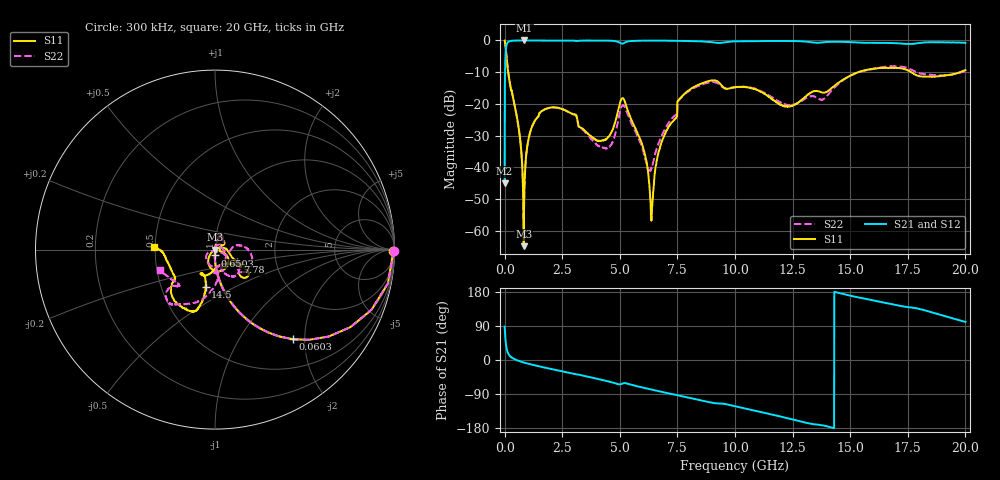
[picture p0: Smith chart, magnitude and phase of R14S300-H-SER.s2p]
!{R14S300}
!Johanson Technology Inc.
!www.johansontechnology.com
!Test Board Conditions:
!Substrate Type  RO4350B
!Substrate Thickness  20 mil
!Substrate Dk  3.66
!TL Type: GCPW
!TL Trace Width  36 mil
!TL Gap  12 mil
!Electrode orientation  Horizontal
!DUT TOPOLOGY	SERIES
!Mounting Pad LxW  26x36 mil
! Created Wed Nov 25 17:33:21 2020
! 2 Port Network Data from SP1.SP block
! freq  magS11  angS11  magS21  angS21  magS12  angS12  magS22  angS22
# khz S ma R 50
! decimated to every 10th point (10 MHz spacing) of the original 1 MHz Johanson file; values unchanged
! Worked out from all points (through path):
!   2001 points, 300 kHz to 20 GHz, reference 50 ohm
!   highest |S21| = 0.00 dB at 860.3 MHz (marker M1); lowest = -45.0 dB at 300 kHz (marker M2)
!   group delay of S21, straight-line fit = 36.1 ps
!   lowest |S11| = -64.8 dB at 830.3 MHz (marker M3), VSWR 1.00, Z = 49.9 + j0.0263 ohm
!   |S11| at or under -10 dB: 154.5 MHz to 15.35 GHz (15.19 GHz wide, 196 % of centre); 17.64 GHz to 19.77 GHz (2.133 GHz wide, 11.4 % of centre)
!   |S22| runs from -57.0 to 0.0 dB; largest |S21 - S12| = 0.02
!   S11 on the Smith chart (normalised r, x): 300 kHz: open; 60.3 MHz: 0.99, -1.75; 650.3 MHz: 0.99, -0.06; 7.78 GHz: 1.27, -0.18; 14.5 GHz: 0.83, -0.36; 20 GHz: 0.49, +0.02
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300  0.9933 -0.5  0.005616 88.4  0.005651 89.3  0.998 -0.5
60300  0.66 -49.1  0.749 40.8  0.7492 40.8  0.6617 -49.1
140300  0.3463 -70.6  0.9361 19.2  0.9362 19.2  0.3483 -70.6
650300  0.03267 -93.3  0.9979 -3.1  0.9992 -3.2  0.03298 -91.8
830300  0.0005724 152.6  0.9996 -6.6  0.9991 -6.5  0.001417 -5.1
860300  0.00518 90.9  0.9998 -7.1  0.9986 -7.1  0.004776 66.2
1090300  0.03372 80.7  0.998 -10.8  0.9982 -10.8  0.03367 76.8
1600300  0.07634 74.2  0.9958 -18.2  0.9963 -18.2  0.07616 68.8
2570300  0.08093 59.9  0.9945 -30.8  0.9948 -30.8  0.08088 56.4
3340300  0.0417 36.9  0.9948 -40.4  0.9945 -40.3  0.04045 52.4
4490300  0.03021 -18.9  0.9925 -56.2  0.9922 -56.2  0.02086 68.3
5160300  0.1209 -86.2  0.901 -61.2  0.9021 -61.2  0.09494 -93.8
6020300  0.01975 -143.2  0.992 -73.1  0.9913 -73.1  0.01763 -151.8
6370300  0.001442 129.3  0.9933 -78.0  0.9925 -77.9  0.009449 -69.8
6670300  0.01633 31.4  0.9933 -82.0  0.9931 -82.0  0.02323 -33.9
7780300  0.1415 -28.7  0.9818 -96.6  0.9811 -96.7  0.1375 9.6
1.00003e7  0.1832 -28.6  0.9669 -122.1  0.9671 -122.1  0.1829 -43.9
1.22603e7  0.09051 -67.1  0.9805 -153.3  0.9831 -153.2  0.09677 -67.9
1.33403e7  0.1551 -110.5  0.9348 -168.9  0.9379 -168.9  0.1321 -86.4
1.45003e7  0.2157 -103.9  0.9544 177.1  0.9566 176.9  0.209 -91.1
1.66703e7  0.3671 -115.8  0.9131 149.0  0.9039 148.7  0.3911 -128.6
2e7  0.341 177.5  0.9163 100.5  0.917 100.7  0.3278 -160.2
